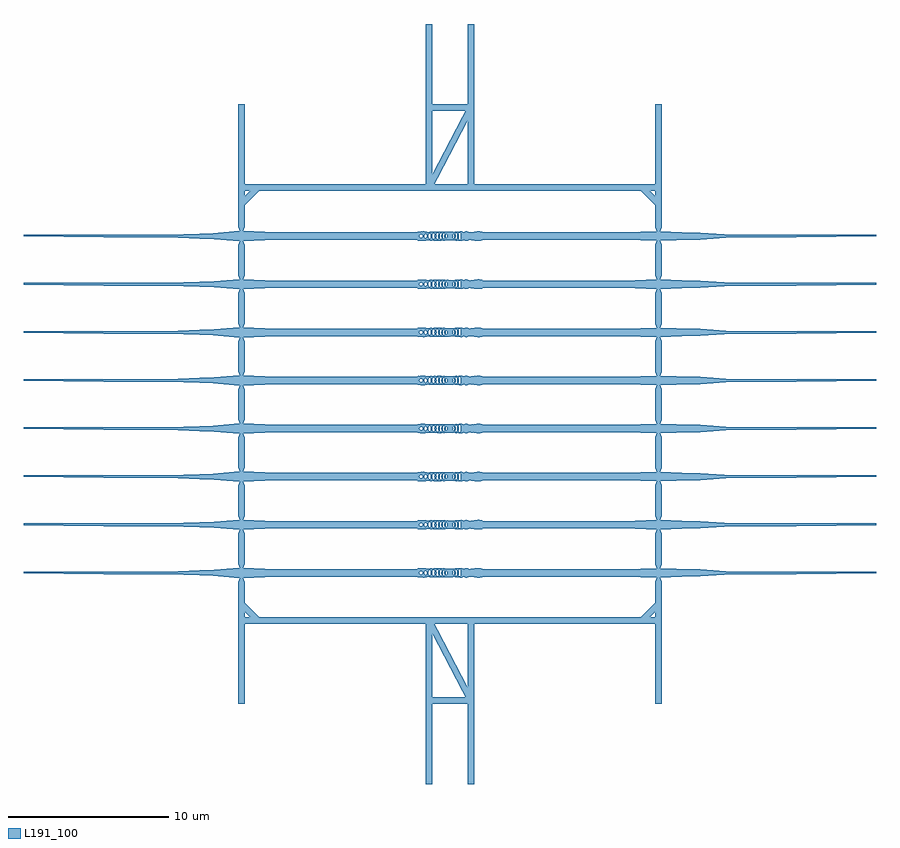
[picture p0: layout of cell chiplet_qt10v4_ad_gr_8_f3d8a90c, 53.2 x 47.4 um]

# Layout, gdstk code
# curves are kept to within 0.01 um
from math import pi, radians
import gdstk
lib = gdstk.Library(unit=1e-6, precision=1e-09)
def R(c, l, rs):  # rectangles x0, y0, x1, y1
    for r in rs: c.add(gdstk.rectangle(r[:2], r[2:], *l))
def P(c, l, *ps):  # polygons
    for p in ps: c.add(gdstk.Polygon(p, *l))
L191_100 = (191, 100)

qt10v4_180nm_gap_cavity_ = lib.new_cell('QT10v4_180nm_gap_cavity_9e89cd71')
P(qt10v4_180nm_gap_cavity_, L191_100, [(-0.455,-0.052),(-0.455,-0.05),(-0.454,-0.046),(-0.454,-0.022),(-0.453,-0.01),(-0.453,0.01),(-0.454,0.022),(-0.454,0.046),(-0.455,0.05),(-0.455,0.052)],
  [(-0.454,0.114),(-0.384,0.184),(-0.356,0.184),(-0.334,0.162),(-0.326,0.114),(-0.355,-0.002),(-0.326,-0.138),(-0.342,-0.174),(-0.372,-0.187),(-0.416,-0.164),(-0.455,-0.112),(-0.455,-0.27),(-0.368,-0.279),(-0.256,-0.26),(0.168,-0.26),(0.272,-0.244),(0.38,-0.283),(0.48,-0.269),(0.704,-0.296),(0.864,-0.244),(1.02,-0.296),(1.244,-0.227),(1.356,-0.256),(1.46,-0.246),(1.548,-0.276),(1.644,-0.273),(1.744,-0.296),(2.001,-0.266),(2.002,0.146),(0.682,0.146),(0.67,0.022),(0.682,-0.158),(0.659,-0.206),(0.612,-0.227),(0.553,-0.214),(0.527,-0.162),(0.557,-0.006),(0.535,0.106),(0.462,0.106),(0.45,0.026),(0.462,-0.11),(0.43,-0.174),(0.384,-0.207),(0.344,-0.194),(0.326,-0.154),(0.358,-0.03),(0.346,0.074),(0.259,0.074),(0.258,-0.094),(0.22,-0.138),(0.192,-0.131),(0.173,-0.098),(0.188,0.006),(0.172,0.082),(-0.178,0.082),(-0.182,-0.106),(-0.2,-0.122),(-0.236,-0.12),(-0.27,-0.074),(-0.269,0.082),(-0.256,0.107),(-0.22,0.124),(-0.192,0.118),(-0.178,0.082),(0.172,0.082),(0.183,0.122),(0.22,0.138),(0.248,0.12),(0.259,0.074),(0.346,0.074),(0.326,0.154),(0.355,0.202),(0.411,0.194),(0.462,0.106),(0.535,0.106),(0.535,0.19),(0.56,0.219),(0.592,0.228),(0.659,0.206),(0.682,0.146),(2.002,0.146),(2,0.27),(1.744,0.296),(1.644,0.273),(1.548,0.276),(1.46,0.246),(1.356,0.256),(1.244,0.227),(1.02,0.296),(0.864,0.244),(0.704,0.296),(0.48,0.269),(0.38,0.283),(0.272,0.244),(0.168,0.26),(-0.256,0.26),(-0.388,0.279),(-0.455,0.27)],
  [(-0.46,0.269),(-0.616,0.282),(-0.968,0.278),(-1.088,0.263),(-1.196,0.278),(-1.288,0.256),(-1.416,0.252),(-1.632,0.294),(-2,0.274),(-2.002,-0.27),(-1.652,-0.294),(-1.416,-0.252),(-1.288,-0.256),(-1.196,-0.278),(-1.088,-0.263),(-0.968,-0.278),(-0.616,-0.282),(-0.455,-0.27),(-0.455,0.134),(-0.506,0.134),(-0.534,0.046),(-0.538,-0.026),(-0.506,-0.142),(-0.524,-0.188),(-0.552,-0.208),(-0.604,-0.184),(-0.638,-0.118),(-0.634,0.13),(-0.707,0.13),(-0.746,0.014),(-0.708,-0.14),(-0.731,-0.19),(-0.772,-0.213),(-0.828,-0.191),(-0.87,-0.13),(-0.838,0.01),(-0.872,0.102),(-0.942,0.102),(-0.969,0.006),(-0.944,-0.118),(-0.966,-0.158),(-1.016,-0.192),(-1.064,-0.176),(-1.11,-0.11),(-1.092,0.006),(-1.112,0.086),(-1.189,0.086),(-1.205,0.006),(-1.194,-0.114),(-1.222,-0.158),(-1.26,-0.181),(-1.3,-0.168),(-1.337,-0.118),(-1.351,0.002),(-1.43,0.002),(-1.451,-0.09),(-1.516,-0.143),(-1.548,-0.136),(-1.589,-0.094),(-1.614,0.002),(-1.684,0.002),(-1.712,-0.068),(-1.792,-0.111),(-1.874,-0.086),(-1.918,-0.006),(-1.891,0.07),(-1.808,0.111),(-1.724,0.08),(-1.684,0.002),(-1.614,0.002),(-1.594,0.086),(-1.528,0.143),(-1.492,0.134),(-1.459,0.102),(-1.43,0.002),(-1.351,0.002),(-1.337,0.118),(-1.3,0.168),(-1.272,0.181),(-1.215,0.15),(-1.189,0.086),(-1.112,0.086),(-1.082,0.158),(-1.032,0.192),(-0.984,0.176),(-0.942,0.102),(-0.872,0.102),(-0.841,0.178),(-0.784,0.213),(-0.731,0.19),(-0.707,0.13),(-0.634,0.13),(-0.604,0.184),(-0.568,0.208),(-0.528,0.193),(-0.506,0.134),(-0.455,0.134)])

taper_cross_section_b099 = lib.new_cell('taper_cross_section_b0997aaa')
P(taper_cross_section_b099, L191_100, [(0,-0.23),(0.03,-0.23),(0.061,-0.23),(0.091,-0.23),(0.121,-0.23),(0.152,-0.23),(0.182,-0.23),(0.212,-0.23),(0.242,-0.23),(0.273,-0.23),(0.303,-0.23),(0.333,-0.23),(0.364,-0.23),(0.394,-0.23),(0.424,-0.23),(0.455,-0.23),(0.485,-0.23),(0.515,-0.23),(0.545,-0.23),(0.576,-0.23),(0.606,-0.23),(0.636,-0.23),(0.667,-0.23),(0.697,-0.23),(0.727,-0.23),(0.758,-0.23),(0.788,-0.23),(0.818,-0.23),(0.848,-0.23),(0.879,-0.23),(0.909,-0.23),(0.939,-0.23),(0.97,-0.23),(1,-0.23),(1.03,-0.23),(1.061,-0.23),(1.091,-0.23),(1.121,-0.23),(1.152,-0.23),(1.182,-0.23),(1.212,-0.23),(1.242,-0.23),(1.273,-0.23),(1.303,-0.23),(1.333,-0.23),(1.364,-0.23),(1.394,-0.23),(1.424,-0.23),(1.455,-0.23),(1.485,-0.23),(1.515,-0.23),(1.545,-0.23),(1.576,-0.23),(1.606,-0.23),(1.636,-0.23),(1.667,-0.23),(1.697,-0.23),(1.727,-0.23),(1.758,-0.23),(1.788,-0.23),(1.818,-0.23),(1.848,-0.23),(1.879,-0.23),(1.909,-0.23),(1.939,-0.23),(1.97,-0.23),(2,-0.23),(2.03,-0.23),(2.061,-0.23),(2.091,-0.23),(2.121,-0.23),(2.152,-0.23),(2.182,-0.23),(2.212,-0.23),(2.242,-0.23),(2.273,-0.23),(2.303,-0.23),(2.333,-0.23),(2.364,-0.23),(2.394,-0.23),(2.424,-0.23),(2.455,-0.23),(2.485,-0.23),(2.515,-0.23),(2.545,-0.23),(2.576,-0.23),(2.606,-0.23),(2.636,-0.23),(2.667,-0.23),(2.697,-0.23),(2.727,-0.23),(2.758,-0.23),(2.788,-0.23),(2.818,-0.23),(2.848,-0.23),(2.879,-0.23),(2.909,-0.23),(2.939,-0.23),(2.97,-0.23),(3,-0.23),(3,0.23),(2.97,0.23),(2.939,0.23),(2.909,0.23),(2.879,0.23),(2.848,0.23),(2.818,0.23),(2.788,0.23),(2.758,0.23),(2.727,0.23),(2.697,0.23),(2.667,0.23),(2.636,0.23),(2.606,0.23),(2.576,0.23),(2.545,0.23),(2.515,0.23),(2.485,0.23),(2.455,0.23),(2.424,0.23),(2.394,0.23),(2.364,0.23),(2.333,0.23),(2.303,0.23),(2.273,0.23),(2.242,0.23),(2.212,0.23),(2.182,0.23),(2.152,0.23),(2.121,0.23),(2.091,0.23),(2.061,0.23),(2.03,0.23),(2,0.23),(1.97,0.23),(1.939,0.23),(1.909,0.23),(1.879,0.23),(1.848,0.23),(1.818,0.23),(1.788,0.23),(1.758,0.23),(1.727,0.23),(1.697,0.23),(1.667,0.23),(1.636,0.23),(1.606,0.23),(1.576,0.23),(1.545,0.23),(1.515,0.23),(1.485,0.23),(1.455,0.23),(1.424,0.23),(1.394,0.23),(1.364,0.23),(1.333,0.23),(1.303,0.23),(1.273,0.23),(1.242,0.23),(1.212,0.23),(1.182,0.23),(1.152,0.23),(1.121,0.23),(1.091,0.23),(1.061,0.23),(1.03,0.23),(1,0.23),(0.97,0.23),(0.939,0.23),(0.909,0.23),(0.879,0.23),(0.848,0.23),(0.818,0.23),(0.788,0.23),(0.758,0.23),(0.727,0.23),(0.697,0.23),(0.667,0.23),(0.636,0.23),(0.606,0.23),(0.576,0.23),(0.545,0.23),(0.515,0.23),(0.485,0.23),(0.455,0.23),(0.424,0.23),(0.394,0.23),(0.364,0.23),(0.333,0.23),(0.303,0.23),(0.273,0.23),(0.242,0.23),(0.212,0.23),(0.182,0.23),(0.152,0.23),(0.121,0.23),(0.091,0.23),(0.061,0.23),(0.03,0.23),(0,0.23)])

taper_cross_section_83e5 = lib.new_cell('taper_cross_section_83e5c939')
P(taper_cross_section_83e5, L191_100, [(0,-0.23),(0.03,-0.23),(0.061,-0.23),(0.091,-0.23),(0.121,-0.23),(0.152,-0.23),(0.182,-0.23),(0.212,-0.23),(0.242,-0.23),(0.273,-0.23),(0.303,-0.23),(0.333,-0.23),(0.364,-0.23),(0.394,-0.23),(0.424,-0.23),(0.455,-0.23),(0.485,-0.23),(0.515,-0.23),(0.545,-0.23),(0.576,-0.23),(0.606,-0.23),(0.636,-0.23),(0.667,-0.23),(0.697,-0.23),(0.727,-0.23),(0.758,-0.23),(0.788,-0.23),(0.818,-0.23),(0.848,-0.23),(0.879,-0.23),(0.909,-0.23),(0.939,-0.23),(0.97,-0.23),(1,-0.23),(1.03,-0.23),(1.061,-0.23),(1.091,-0.23),(1.121,-0.23),(1.152,-0.23),(1.182,-0.23),(1.212,-0.23),(1.242,-0.23),(1.273,-0.23),(1.303,-0.23),(1.333,-0.23),(1.364,-0.23),(1.394,-0.23),(1.424,-0.23),(1.455,-0.23),(1.485,-0.23),(1.515,-0.23),(1.545,-0.23),(1.576,-0.23),(1.606,-0.23),(1.636,-0.23),(1.667,-0.23),(1.697,-0.23),(1.727,-0.23),(1.758,-0.23),(1.788,-0.23),(1.818,-0.23),(1.848,-0.23),(1.879,-0.23),(1.909,-0.23),(1.939,-0.23),(1.97,-0.23),(2,-0.23),(2.03,-0.23),(2.061,-0.23),(2.091,-0.23),(2.121,-0.23),(2.152,-0.23),(2.182,-0.23),(2.212,-0.23),(2.242,-0.23),(2.273,-0.23),(2.303,-0.23),(2.333,-0.23),(2.364,-0.23),(2.394,-0.23),(2.424,-0.23),(2.455,-0.23),(2.485,-0.23),(2.515,-0.23),(2.545,-0.23),(2.576,-0.23),(2.606,-0.23),(2.636,-0.23),(2.667,-0.23),(2.697,-0.23),(2.727,-0.23),(2.758,-0.23),(2.788,-0.23),(2.818,-0.23),(2.848,-0.23),(2.879,-0.23),(2.909,-0.23),(2.939,-0.23),(2.97,-0.23),(3,-0.23),(3,0.23),(2.97,0.23),(2.939,0.23),(2.909,0.23),(2.879,0.23),(2.848,0.23),(2.818,0.23),(2.788,0.23),(2.758,0.23),(2.727,0.23),(2.697,0.23),(2.667,0.23),(2.636,0.23),(2.606,0.23),(2.576,0.23),(2.545,0.23),(2.515,0.23),(2.485,0.23),(2.455,0.23),(2.424,0.23),(2.394,0.23),(2.364,0.23),(2.333,0.23),(2.303,0.23),(2.273,0.23),(2.242,0.23),(2.212,0.23),(2.182,0.23),(2.152,0.23),(2.121,0.23),(2.091,0.23),(2.061,0.23),(2.03,0.23),(2,0.23),(1.97,0.23),(1.939,0.23),(1.909,0.23),(1.879,0.23),(1.848,0.23),(1.818,0.23),(1.788,0.23),(1.758,0.23),(1.727,0.23),(1.697,0.23),(1.667,0.23),(1.636,0.23),(1.606,0.23),(1.576,0.23),(1.545,0.23),(1.515,0.23),(1.485,0.23),(1.455,0.23),(1.424,0.23),(1.394,0.23),(1.364,0.23),(1.333,0.23),(1.303,0.23),(1.273,0.23),(1.242,0.23),(1.212,0.23),(1.182,0.23),(1.152,0.23),(1.121,0.23),(1.091,0.23),(1.061,0.23),(1.03,0.23),(1,0.23),(0.97,0.23),(0.939,0.23),(0.909,0.23),(0.879,0.23),(0.848,0.23),(0.818,0.23),(0.788,0.23),(0.758,0.23),(0.727,0.23),(0.697,0.23),(0.667,0.23),(0.636,0.23),(0.606,0.23),(0.576,0.23),(0.545,0.23),(0.515,0.23),(0.485,0.23),(0.455,0.23),(0.424,0.23),(0.394,0.23),(0.364,0.23),(0.333,0.23),(0.303,0.23),(0.273,0.23),(0.242,0.23),(0.212,0.23),(0.182,0.23),(0.152,0.23),(0.121,0.23),(0.091,0.23),(0.061,0.23),(0.03,0.23),(0,0.23)])

coupled_qbit_a8e68929 = lib.new_cell('coupled_qbit_a8e68929')
coupled_qbit_a8e68929.add(gdstk.Reference(qt10v4_180nm_gap_cavity_, (0,0)))
coupled_qbit_a8e68929.add(gdstk.Reference(taper_cross_section_b099, (5.002,0), rotation=pi))
coupled_qbit_a8e68929.add(gdstk.Reference(taper_cross_section_83e5, (-2.002,0), rotation=pi))

straight_15000633 = lib.new_cell('straight_15000633')
R(straight_15000633, L191_100, [(0,-0.23,5.898,0.23)])

compass_d79f009c = lib.new_cell('compass_d79f009c')
R(compass_d79f009c, L191_100, [(-0.1,-0.3,0.1,0.3)])

rectangle_ed88580b = lib.new_cell('rectangle_ed88580b')
rectangle_ed88580b.add(gdstk.Reference(compass_d79f009c, (0,0)))

taper_cross_section_74e0 = lib.new_cell('taper_cross_section_74e0f155')
P(taper_cross_section_74e0, L191_100, [(0,-0.225),(2,-0.3),(2,0.3),(0,0.225)])

taper_cross_section_a297 = lib.new_cell('taper_cross_section_a2972c19')
P(taper_cross_section_a297, L191_100, [(0,-0.23),(2,-0.3),(2,0.3),(0,0.23)])

taper_cross_section_20e0 = lib.new_cell('taper_cross_section_20e0bc68')
P(taper_cross_section_20e0, L191_100, [(0,-0.1),(0.25,-0.2),(0.25,0.2),(0,0.1)])

support_cross_f89d0b61 = lib.new_cell('support_cross_f89d0b61')
support_cross_f89d0b61.add(gdstk.Reference(rectangle_ed88580b, (0,0)))
support_cross_f89d0b61.add(gdstk.Reference(taper_cross_section_74e0, (2.1,0), rotation=pi))
support_cross_f89d0b61.add(gdstk.Reference(taper_cross_section_a297, (-2.1,0)))
support_cross_f89d0b61.add(gdstk.Reference(taper_cross_section_20e0, (0,0.3), rotation=pi/2))
support_cross_f89d0b61.add(gdstk.Reference(taper_cross_section_20e0, (0,-0.3), rotation=3*pi/2))

compass_87a1f7e4 = lib.new_cell('compass_87a1f7e4')
R(compass_87a1f7e4, L191_100, [(-0.1,-0.325,0.1,0.325)])

rectangle_03c840df = lib.new_cell('rectangle_03c840df')
rectangle_03c840df.add(gdstk.Reference(compass_87a1f7e4, (0,0)))

taper_cross_section_66c0 = lib.new_cell('taper_cross_section_66c08956')
P(taper_cross_section_66c0, L191_100, [(0,-0.23),(2,-0.325),(2,0.325),(0,0.23)])

taper_cross_section_2160 = lib.new_cell('taper_cross_section_2160c1e2')
P(taper_cross_section_2160, L191_100, [(0,-0.155),(2,-0.325),(2,0.325),(0,0.155)])

support_cross_91ce4cfd = lib.new_cell('support_cross_91ce4cfd')
support_cross_91ce4cfd.add(gdstk.Reference(rectangle_03c840df, (0,0)))
support_cross_91ce4cfd.add(gdstk.Reference(taper_cross_section_66c0, (2.1,0), rotation=pi))
support_cross_91ce4cfd.add(gdstk.Reference(taper_cross_section_2160, (-2.1,0)))
support_cross_91ce4cfd.add(gdstk.Reference(taper_cross_section_20e0, (0,0.325), rotation=pi/2))
support_cross_91ce4cfd.add(gdstk.Reference(taper_cross_section_20e0, (0,-0.325), rotation=3*pi/2))

inverse_design_qbit_beam = lib.new_cell('inverse_design_qbit_beam_0f30c749')
inverse_design_qbit_beam.add(gdstk.Reference(coupled_qbit_a8e68929, (0,0)))
inverse_design_qbit_beam.add(gdstk.Reference(straight_15000633, (-5.002,0), rotation=pi))
inverse_design_qbit_beam.add(gdstk.Reference(straight_15000633, (5.002,0)))
inverse_design_qbit_beam.add(gdstk.Reference(support_cross_f89d0b61, (13,0)))
inverse_design_qbit_beam.add(gdstk.Reference(support_cross_91ce4cfd, (-13,0)))

c_inverse_design_qbit_beam = lib.new_cell('inverse_design_qbit_beam_array_79cca77a')
r = gdstk.Reference(inverse_design_qbit_beam, (0,0)); r.repetition = gdstk.Repetition(1, 8, v1=(1,0), v2=(0,3)); c_inverse_design_qbit_beam.add(r)

straight_cc08c24d = lib.new_cell('straight_cc08c24d')
R(straight_cc08c24d, L191_100, [(0,-0.2,1.85,0.2)])

straight_7ad87ee6 = lib.new_cell('straight_7ad87ee6')
R(straight_7ad87ee6, L191_100, [(0,-0.2,1.9,0.2)])

qbit_beam_array_b56e7465 = lib.new_cell('qbit_beam_array_b56e7465')
qbit_beam_array_b56e7465.add(gdstk.Reference(c_inverse_design_qbit_beam, (0,0)))
qbit_beam_array_b56e7465.add(gdstk.Reference(straight_cc08c24d, (-13,0.575), rotation=pi/2))
qbit_beam_array_b56e7465.add(gdstk.Reference(straight_7ad87ee6, (13,0.55), rotation=pi/2))
qbit_beam_array_b56e7465.add(gdstk.Reference(straight_cc08c24d, (-13,3.575), rotation=pi/2))
qbit_beam_array_b56e7465.add(gdstk.Reference(straight_7ad87ee6, (13,3.55), rotation=pi/2))
qbit_beam_array_b56e7465.add(gdstk.Reference(straight_cc08c24d, (-13,6.575), rotation=pi/2))
qbit_beam_array_b56e7465.add(gdstk.Reference(straight_7ad87ee6, (13,6.55), rotation=pi/2))
qbit_beam_array_b56e7465.add(gdstk.Reference(straight_cc08c24d, (-13,9.575), rotation=pi/2))
qbit_beam_array_b56e7465.add(gdstk.Reference(straight_7ad87ee6, (13,9.55), rotation=pi/2))
qbit_beam_array_b56e7465.add(gdstk.Reference(straight_cc08c24d, (-13,12.575), rotation=pi/2))
qbit_beam_array_b56e7465.add(gdstk.Reference(straight_7ad87ee6, (13,12.55), rotation=pi/2))
qbit_beam_array_b56e7465.add(gdstk.Reference(straight_cc08c24d, (-13,15.575), rotation=pi/2))
qbit_beam_array_b56e7465.add(gdstk.Reference(straight_7ad87ee6, (13,15.55), rotation=pi/2))
qbit_beam_array_b56e7465.add(gdstk.Reference(straight_cc08c24d, (-13,18.575), rotation=pi/2))
qbit_beam_array_b56e7465.add(gdstk.Reference(straight_7ad87ee6, (13,18.55), rotation=pi/2))

l_c8ea28a7 = lib.new_cell('L_c8ea28a7')
P(l_c8ea28a7, L191_100, [(-0.2,-0.2),(1.3,-0.2),(1.3,0.2),(0.2,0.2),(0.2,1.3),(-0.2,1.3),(-0.2,-0.2)])

extrude_f667d802 = lib.new_cell('extrude_f667d802')
P(extrude_f667d802, L191_100, [(1.181,0.141),(0.141,1.181),(-0.141,0.899),(0.899,-0.141)])

chiplet_frame_corner_fb6 = lib.new_cell('chiplet_frame_corner_fb6255ab')
chiplet_frame_corner_fb6.add(gdstk.Reference(l_c8ea28a7, (0,0)))
chiplet_frame_corner_fb6.add(gdstk.Reference(extrude_f667d802, (0,0)))

compass_2ac69cab = lib.new_cell('compass_2ac69cab')
R(compass_2ac69cab, L191_100, [(-0.2,-0.2,0.2,0.2)])

rectangle_2ac69cab = lib.new_cell('rectangle_2ac69cab')
rectangle_2ac69cab.add(gdstk.Reference(compass_2ac69cab, (0.2,0.2)))

straight_c0c98653 = lib.new_cell('straight_c0c98653')
R(straight_c0c98653, L191_100, [(0,-0.2,2,0.2)])

straight_d8296038 = lib.new_cell('straight_d8296038')
R(straight_d8296038, L191_100, [(0,-0.2,7.4,0.2)])

straight_0f47a090 = lib.new_cell('straight_0f47a090')
R(straight_0f47a090, L191_100, [(0,-0.2,2.2,0.2)])

straight_ca39a7c7 = lib.new_cell('straight_ca39a7c7')
R(straight_ca39a7c7, L191_100, [(0,-0.2,4.6,0.2)])

extrude_b28737ee = lib.new_cell('extrude_b28737ee')
P(extrude_b28737ee, L191_100, [(10.777,0.108),(13.377,5.108),(13.023,5.292),(10.423,0.292)])

breakout_midsection_7238 = lib.new_cell('breakout_midsection_7238e00b')
breakout_midsection_7238.add(gdstk.Reference(rectangle_2ac69cab, (0.2,0)))
breakout_midsection_7238.add(gdstk.Reference(rectangle_2ac69cab, (2.6,0)))
breakout_midsection_7238.add(gdstk.Reference(rectangle_2ac69cab, (10.4,0)))
breakout_midsection_7238.add(gdstk.Reference(rectangle_2ac69cab, (13,0)))
breakout_midsection_7238.add(gdstk.Reference(rectangle_2ac69cab, (20.8,0)))
breakout_midsection_7238.add(gdstk.Reference(rectangle_2ac69cab, (23.2,0)))
breakout_midsection_7238.add(gdstk.Reference(rectangle_2ac69cab, (10.4,5)))
breakout_midsection_7238.add(gdstk.Reference(rectangle_2ac69cab, (13,5)))
breakout_midsection_7238.add(gdstk.Reference(rectangle_2ac69cab, (10.4,10)))
breakout_midsection_7238.add(gdstk.Reference(rectangle_2ac69cab, (13,10)))
breakout_midsection_7238.add(gdstk.Reference(straight_c0c98653, (0.6,0.2)))
breakout_midsection_7238.add(gdstk.Reference(straight_d8296038, (3,0.2)))
breakout_midsection_7238.add(gdstk.Reference(straight_0f47a090, (10.8,0.2)))
breakout_midsection_7238.add(gdstk.Reference(straight_d8296038, (13.4,0.2)))
breakout_midsection_7238.add(gdstk.Reference(straight_c0c98653, (21.2,0.2)))
breakout_midsection_7238.add(gdstk.Reference(straight_0f47a090, (10.8,5.2)))
breakout_midsection_7238.add(gdstk.Reference(straight_ca39a7c7, (10.6,0.4), rotation=pi/2))
breakout_midsection_7238.add(gdstk.Reference(straight_ca39a7c7, (10.6,5.4), rotation=pi/2))
breakout_midsection_7238.add(gdstk.Reference(straight_ca39a7c7, (13.2,0.4), rotation=pi/2))
breakout_midsection_7238.add(gdstk.Reference(straight_ca39a7c7, (13.2,5.4), rotation=pi/2))
breakout_midsection_7238.add(gdstk.Reference(extrude_b28737ee, (0,0)))

straight_b8c71607 = lib.new_cell('straight_b8c71607')
R(straight_b8c71607, L191_100, [(0,-0.2,5,0.2)])

breakout_support_structu = lib.new_cell('breakout_support_structure_363ea766')
breakout_support_structu.add(gdstk.Reference(chiplet_frame_corner_fb6, (-1.1,0.2), x_reflection=True))
breakout_support_structu.add(gdstk.Reference(chiplet_frame_corner_fb6, (24.9,0.2), rotation=pi))
breakout_support_structu.add(gdstk.Reference(breakout_midsection_7238, (0,0)))
breakout_support_structu.add(gdstk.Reference(straight_b8c71607, (-1.1,0.4), rotation=pi/2))
breakout_support_structu.add(gdstk.Reference(straight_b8c71607, (24.9,0.4), rotation=pi/2))

straight_2f2d2c75 = lib.new_cell('straight_2f2d2c75')
R(straight_2f2d2c75, L191_100, [(0,-0.2,1.155,0.2)])

straight_f5ab2834 = lib.new_cell('straight_f5ab2834')
R(straight_f5ab2834, L191_100, [(0,-0.2,1.18,0.2)])

c_breakout_support_structu = lib.new_cell('breakout_support_structure_with_base_extension_5c3bd4ee')
c_breakout_support_structu.add(gdstk.Reference(breakout_support_structu, (0,0)))
c_breakout_support_structu.add(gdstk.Reference(straight_2f2d2c75, (-1.1,-1.1), rotation=3*pi/2))
c_breakout_support_structu.add(gdstk.Reference(straight_f5ab2834, (24.9,-1.1), rotation=3*pi/2))

straight_6bc4b7b7 = lib.new_cell('straight_6bc4b7b7')
R(straight_6bc4b7b7, L191_100, [(0,-0.2,1.095,0.2)])

straight_a05f0073 = lib.new_cell('straight_a05f0073')
R(straight_a05f0073, L191_100, [(0,-0.2,1.12,0.2)])

c_breakout_support_structu_ = lib.new_cell('breakout_support_structure_with_base_extension_84308aab')
c_breakout_support_structu_.add(gdstk.Reference(breakout_support_structu, (0,0)))
c_breakout_support_structu_.add(gdstk.Reference(straight_6bc4b7b7, (-1.1,-1.1), rotation=3*pi/2))
c_breakout_support_structu_.add(gdstk.Reference(straight_a05f0073, (24.9,-1.1), rotation=3*pi/2))

qt_chiplet_v2_b1534be7 = lib.new_cell('qt_chiplet_v2_b1534be7')
qt_chiplet_v2_b1534be7.add(gdstk.Reference(qbit_beam_array_b56e7465, (0,0)))
qt_chiplet_v2_b1534be7.add(gdstk.Reference(c_breakout_support_structu, (-11.9,23.83)))
qt_chiplet_v2_b1534be7.add(gdstk.Reference(c_breakout_support_structu_, (-11.9,-2.77), x_reflection=True))

chiplet_qt10v4_8d6b0e8d = lib.new_cell('chiplet_qt10v4_8d6b0e8d')
chiplet_qt10v4_8d6b0e8d.add(gdstk.Reference(qt_chiplet_v2_b1534be7, (0,0)))

straight_5b8eeee8 = lib.new_cell('straight_5b8eeee8')
R(straight_5b8eeee8, L191_100, [(0,-0.155,0.5,0.155)])

taper_9b1bdfca = lib.new_cell('taper_9b1bdfca')
P(taper_9b1bdfca, L191_100, [(0,0.155),(2,0.08),(2,-0.08),(0,-0.155)])

straight_3af902ff = lib.new_cell('straight_3af902ff')
R(straight_3af902ff, L191_100, [(0,-0.08,4,0.08)])

ramp_6c3b3d98 = lib.new_cell('ramp_6c3b3d98')
P(ramp_6c3b3d98, L191_100, [(0,0.16),(5,0.1),(5,0),(0,0)])

xceleprint_d_sin_transit = lib.new_cell('xceleprint_d_sin_transition_7fae5980')
xceleprint_d_sin_transit.add(gdstk.Reference(straight_5b8eeee8, (0,0)))
xceleprint_d_sin_transit.add(gdstk.Reference(taper_9b1bdfca, (0.5,0)))
xceleprint_d_sin_transit.add(gdstk.Reference(straight_3af902ff, (2.5,0)))
xceleprint_d_sin_transit.add(gdstk.Reference(ramp_6c3b3d98, (6.5,0.08), x_reflection=True))

straight_ee09d4de = lib.new_cell('straight_ee09d4de')
R(straight_ee09d4de, L191_100, [(0,-0.225,0.5,0.225)])

taper_5277910b = lib.new_cell('taper_5277910b')
P(taper_5277910b, L191_100, [(0,0.225),(2,0.08),(2,-0.08),(0,-0.225)])

c_xceleprint_d_sin_transit = lib.new_cell('xceleprint_d_sin_transition_d7fa76c1')
c_xceleprint_d_sin_transit.add(gdstk.Reference(straight_ee09d4de, (0,0)))
c_xceleprint_d_sin_transit.add(gdstk.Reference(taper_5277910b, (0.5,0)))
c_xceleprint_d_sin_transit.add(gdstk.Reference(straight_3af902ff, (2.5,0)))
c_xceleprint_d_sin_transit.add(gdstk.Reference(ramp_6c3b3d98, (6.5,0.08), x_reflection=True))

chiplet_qt10v4_ad_gr_8_f = lib.new_cell('chiplet_qt10v4_ad_gr_8_f3d8a90c')
chiplet_qt10v4_ad_gr_8_f.add(gdstk.Reference(chiplet_qt10v4_8d6b0e8d, (0,-10.53)))
chiplet_qt10v4_ad_gr_8_f.add(gdstk.Reference(xceleprint_d_sin_transit, (-15.1,-10.53), rotation=pi, x_reflection=True))
chiplet_qt10v4_ad_gr_8_f.add(gdstk.Reference(xceleprint_d_sin_transit, (-15.1,-7.53), rotation=pi, x_reflection=True))
chiplet_qt10v4_ad_gr_8_f.add(gdstk.Reference(xceleprint_d_sin_transit, (-15.1,-4.53), rotation=pi, x_reflection=True))
chiplet_qt10v4_ad_gr_8_f.add(gdstk.Reference(xceleprint_d_sin_transit, (-15.1,-1.53), rotation=pi, x_reflection=True))
chiplet_qt10v4_ad_gr_8_f.add(gdstk.Reference(xceleprint_d_sin_transit, (-15.1,1.47), rotation=pi, x_reflection=True))
chiplet_qt10v4_ad_gr_8_f.add(gdstk.Reference(xceleprint_d_sin_transit, (-15.1,4.47), rotation=pi, x_reflection=True))
chiplet_qt10v4_ad_gr_8_f.add(gdstk.Reference(xceleprint_d_sin_transit, (-15.1,7.47), rotation=pi, x_reflection=True))
chiplet_qt10v4_ad_gr_8_f.add(gdstk.Reference(xceleprint_d_sin_transit, (-15.1,10.47), rotation=pi, x_reflection=True))
chiplet_qt10v4_ad_gr_8_f.add(gdstk.Reference(c_xceleprint_d_sin_transit, (15.1,10.47)))
chiplet_qt10v4_ad_gr_8_f.add(gdstk.Reference(c_xceleprint_d_sin_transit, (15.1,7.47)))
chiplet_qt10v4_ad_gr_8_f.add(gdstk.Reference(c_xceleprint_d_sin_transit, (15.1,4.47)))
chiplet_qt10v4_ad_gr_8_f.add(gdstk.Reference(c_xceleprint_d_sin_transit, (15.1,1.47)))
chiplet_qt10v4_ad_gr_8_f.add(gdstk.Reference(c_xceleprint_d_sin_transit, (15.1,-1.53)))
chiplet_qt10v4_ad_gr_8_f.add(gdstk.Reference(c_xceleprint_d_sin_transit, (15.1,-4.53)))
chiplet_qt10v4_ad_gr_8_f.add(gdstk.Reference(c_xceleprint_d_sin_transit, (15.1,-7.53)))
chiplet_qt10v4_ad_gr_8_f.add(gdstk.Reference(c_xceleprint_d_sin_transit, (15.1,-10.53)))

lib.write_gds('chiplet_qt10v4_ad_gr_8_f3d8a90c.gds')
